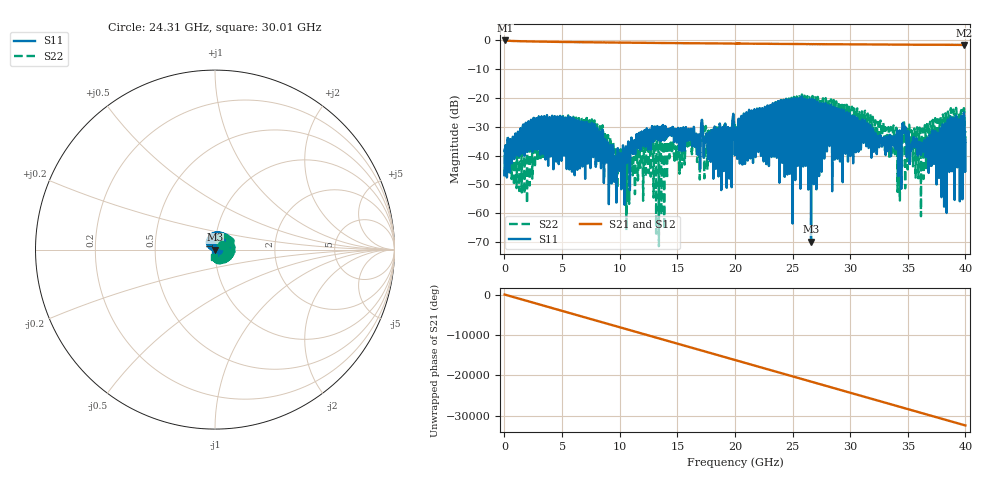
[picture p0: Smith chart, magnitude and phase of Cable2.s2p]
!UUTPORTS:-2,2 CABLE SERIAL NUMBER 09-11-605
! 11/2/2010 1:56:58 PM
! RESWITHCABLESETTEST.S2P
! CHANNEL.1
! TR.MEASUREMENT
! CORRECTED.DATA
# GHZ S RI R 50.0
! FREQ.GHZ  S11RE  S11M  S21RE  S21M  S12RE  S12M  S22RE  S22M
!; PortSelection: Port_12
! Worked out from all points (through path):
!   7999 points, 10 MHz to 40 GHz, reference 50 ohm
!   highest |S21| = 0.00 dB at 35 MHz (marker M1); lowest = -1.6 dB at 39.88 GHz (marker M2)
!   group delay of S21, straight-line fit = 2.25 ns
!   lowest |S11| = -69.9 dB at 26.61 GHz (marker M3), VSWR 1.00, Z = 50 + j0.0115 ohm
!   |S11| at or under -10 dB: start of sweep to end of sweep
!   |S22| runs from -71.4 to -18.8 dB; largest |S21 - S12| = 0.01
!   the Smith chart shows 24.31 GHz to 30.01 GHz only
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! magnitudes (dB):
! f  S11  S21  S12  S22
! 10 MHz  -46.8  0.0  0.0  -47.2
! 35 MHz  -37.5  0.0  0.0  -38.5
! 2.645 GHz  -37.6  -0.4  -0.4  -44.1
! 6.675 GHz  -28.4  -0.6  -0.6  -26.9
! 8.385 GHz  -42.8  -0.7  -0.7  -42.6
! 9.625 GHz  -41.0  -0.7  -0.7  -38.0
! 10.69 GHz  -41.7  -0.8  -0.8  -43.0
! 11.06 GHz  -35.0  -0.8  -0.8  -42.5
! 13.34 GHz  -32.1  -0.9  -0.9  -36.8
! 17.77 GHz  -32.2  -1.0  -1.0  -33.4
! 20 GHz  -36.8  -1.1  -1.1  -30.1
! 26.61 GHz  -69.9  -1.3  -1.3  -27.1
! 26.67 GHz  -22.8  -1.3  -1.3  -21.9
! 33.34 GHz  -37.3  -1.4  -1.4  -30.7
! 33.88 GHz  -33.9  -1.4  -1.4  -39.4
! 34.28 GHz  -31.8  -1.4  -1.4  -40.3
! 34.67 GHz  -31.9  -1.5  -1.5  -28.6
! 35.3 GHz  -36.3  -1.5  -1.5  -32.4
! 36.26 GHz  -35.6  -1.5  -1.5  -30.6
! 38.84 GHz  -45.4  -1.5  -1.5  -32.1
! 39.88 GHz  -25.3  -1.6  -1.6  -23.5
! 40 GHz  -34.5  -1.5  -1.5  -31.5
